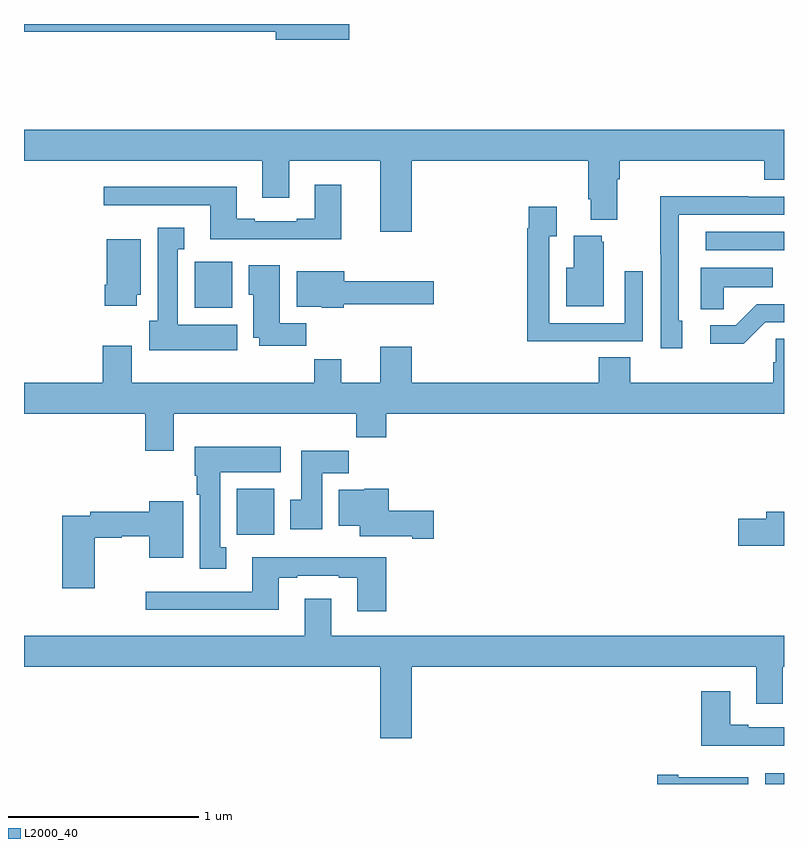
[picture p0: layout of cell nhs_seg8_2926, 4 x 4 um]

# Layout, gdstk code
import gdstk
lib = gdstk.Library(unit=1e-6, precision=1e-09)
def R(c, l, rs):  # rectangles x0, y0, x1, y1
    for r in rs: c.add(gdstk.rectangle(r[:2], r[2:], *l))
def P(c, l, *ps):  # polygons
    for p in ps: c.add(gdstk.Polygon(p, *l))
L2000_40 = (2000, 40)

nhs_seg8_2926 = lib.new_cell('nhs_seg8_2926')
R(nhs_seg8_2926, L2000_40, [(298.901,1099.9,299,1099.957), (296.12,1101.212,296.317,1101.454), (295.898,1102.406,296.095,1102.648), (298.587,1102.71,299,1102.806)])
P(nhs_seg8_2926, L2000_40, [(296.713,1103.9),(295,1103.9),(295,1103.86),(296.324,1103.86),(296.324,1103.818),(296.713,1103.818)],
  [(297.04,1103.18),(297.971,1103.18),(297.971,1102.978),(297.983,1102.978),(297.983,1102.871),(298.123,1102.871),(298.123,1103.084),(298.136,1103.084),(298.136,1103.18),(298.895,1103.18),(298.895,1103.081),(299,1103.081),(299,1103.344),(295,1103.344),(295,1103.18),(296.255,1103.18),(296.255,1102.986),(296.395,1102.986),(296.395,1103.18),(296.876,1103.18),(296.876,1102.806),(297.04,1102.806)],
  [(296.671,1103.053),(296.531,1103.053),(296.531,1102.876),(296.435,1102.876),(296.435,1102.863),(296.215,1102.863),(296.215,1102.876),(296.119,1102.876),(296.119,1103.044),(295.419,1103.044),(295.419,1102.947),(295.979,1102.947),(295.979,1102.766),(296.671,1102.766)],
  [(298.465,1102.338),(298.446,1102.338),(298.446,1102.896),(299,1102.896),(299,1102.992),(298.811,1102.992),(298.811,1102.994),(298.348,1102.994),(298.348,1102.687),(298.35,1102.687),(298.35,1102.194),(298.465,1102.194)],
  [(297.941,1102.23),(298.257,1102.23),(298.257,1102.6),(298.161,1102.6),(298.161,1102.326),(297.765,1102.326),(297.765,1102.783),(297.805,1102.783),(297.805,1102.939),(297.657,1102.939),(297.657,1102.826),(297.649,1102.826),(297.649,1102.229),(297.941,1102.229)],
  [(296.122,1102.318),(295.81,1102.318),(295.81,1102.715),(295.843,1102.715),(295.843,1102.828),(295.703,1102.828),(295.703,1102.338),(295.658,1102.338),(295.658,1102.184),(296.122,1102.184)],
  [(298.051,1102.755),(298.04,1102.755),(298.04,1102.786),(297.893,1102.786),(297.893,1102.618),(297.854,1102.618),(297.854,1102.415),(298.051,1102.415)],
  [(295.594,1102.476),(295.615,1102.476),(295.615,1102.768),(295.436,1102.768),(295.436,1102.528),(295.424,1102.528),(295.424,1102.416),(295.594,1102.416)],
  [(296.486,1102.324),(296.347,1102.324),(296.347,1102.63),(296.183,1102.63),(296.183,1102.476),(296.207,1102.476),(296.207,1102.25),(296.237,1102.25),(296.237,1102.206),(296.486,1102.206)],
  [(298.683,1102.514),(298.94,1102.514),(298.94,1102.618),(298.562,1102.618),(298.562,1102.399),(298.683,1102.399)],
  [(296.682,1102.424),(297.157,1102.424),(297.157,1102.546),(296.686,1102.546),(296.686,1102.6),(296.435,1102.6),(296.435,1102.412),(296.568,1102.412),(296.568,1102.406),(296.682,1102.406)],
  [(298.902,1102.329),(299,1102.329),(299,1102.425),(298.856,1102.425),(298.745,1102.314),(298.611,1102.314),(298.611,1102.217),(298.789,1102.217)],
  [(295.789,1101.848),(296.749,1101.848),(296.749,1101.724),(296.906,1101.724),(296.906,1101.848),(299,1101.848),(299,1102.244),(298.956,1102.244),(298.956,1102.121),(298.943,1102.121),(298.943,1102.012),(298.19,1102.012),(298.19,1102.145),(298.025,1102.145),(298.025,1102.012),(297.04,1102.012),(297.04,1102.201),(296.876,1102.201),(296.876,1102.012),(296.671,1102.012),(296.671,1102.136),(296.527,1102.136),(296.527,1102.012),(295.567,1102.012),(295.567,1102.207),(295.415,1102.207),(295.415,1102.012),(295,1102.012),(295,1101.848),(295.637,1101.848),(295.637,1101.654),(295.789,1101.654)],
  [(296.065,1101.146),(296.032,1101.146),(296.032,1101.542),(296.35,1101.542),(296.35,1101.676),(295.898,1101.676),(295.898,1101.522),(295.91,1101.522),(295.91,1101.422),(295.925,1101.422),(295.925,1101.033),(296.065,1101.033)],
  [(296.569,1101.536),(296.708,1101.536),(296.708,1101.655),(296.459,1101.655),(296.459,1101.396),(296.402,1101.396),(296.402,1101.24),(296.569,1101.24)],
  [(297.157,1101.338),(296.921,1101.338),(296.921,1101.454),(296.79,1101.454),(296.79,1101.448),(296.657,1101.448),(296.657,1101.26),(296.768,1101.26),(296.768,1101.203),(297.044,1101.203),(297.044,1101.191),(297.157,1101.191)],
  [(295.372,1101.196),(295.515,1101.196),(295.515,1101.204),(295.658,1101.204),(295.658,1101.092),(295.837,1101.092),(295.837,1101.388),(295.658,1101.388),(295.658,1101.332),(295.348,1101.332),(295.348,1101.312),(295.202,1101.312),(295.202,1100.931),(295.372,1100.931)],
  [(299,1101.332),(298.907,1101.332),(298.907,1101.296),(298.758,1101.296),(298.758,1101.154),(299,1101.154)],
  [(296.906,1101.094),(296.201,1101.094),(296.201,1100.913),(295.641,1100.913),(295.641,1100.816),(296.341,1100.816),(296.341,1100.985),(296.437,1100.985),(296.437,1100.997),(296.657,1100.997),(296.657,1100.985),(296.753,1100.985),(296.753,1100.808),(296.906,1100.808)],
  [(297.04,1100.516),(298.853,1100.516),(298.853,1100.322),(298.993,1100.322),(298.993,1100.516),(299,1100.516),(299,1100.68),(296.617,1100.68),(296.617,1100.875),(296.477,1100.875),(296.477,1100.68),(295,1100.68),(295,1100.516),(296.876,1100.516),(296.876,1100.142),(297.04,1100.142)],
  [(299,1100.199),(298.813,1100.199),(298.813,1100.212),(298.717,1100.212),(298.717,1100.389),(298.565,1100.389),(298.565,1100.102),(299,1100.102)],
  [(298.813,1099.936),(298.444,1099.936),(298.444,1099.949),(298.332,1099.949),(298.332,1099.9),(298.813,1099.9)])

lib.write_gds('nhs_seg8_2926.gds')
